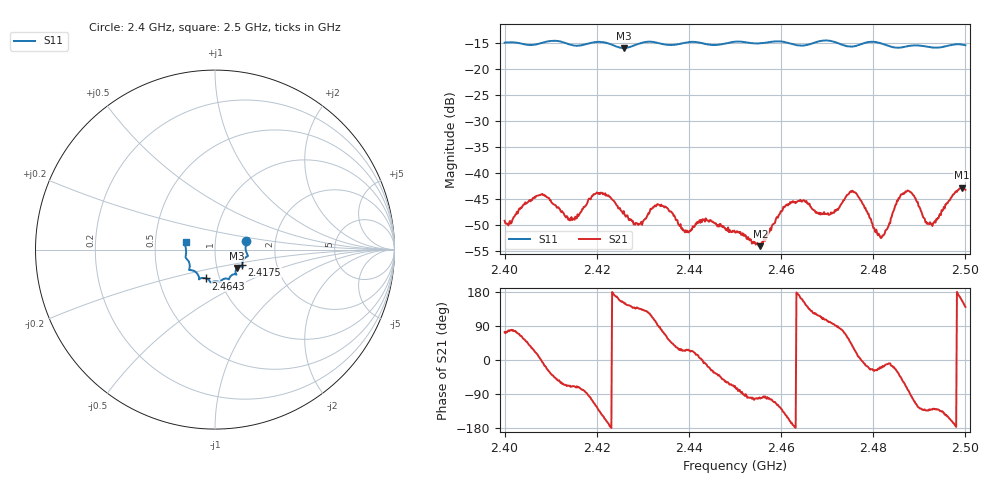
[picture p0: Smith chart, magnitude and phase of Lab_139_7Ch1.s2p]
# Hz S RI R 50
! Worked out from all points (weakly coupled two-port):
!   601 points, 2.4 GHz to 2.5 GHz, reference 50 ohm
!   highest |S21| = -42.78 dB at 2.4992 GHz (marker M1); lowest = -54.1 dB at 2.4555 GHz (marker M2)
!   lowest |S11| = -15.9 dB at 2.4258 GHz (marker M3), VSWR 1.38, Z = 62.3 - j13.2 ohm
!   |S11| at or under -10 dB: start of sweep to end of sweep
!   S12 and S22 are empty: the file has one direction only
!   S11 on the Smith chart (normalised r, x): 2.4 GHz: 1.41, +0.14; 2.4175 GHz: 1.33, -0.23; 2.4643 GHz: 0.86, -0.29; 2.5 GHz: 0.72, +0.06
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2.4e9  0.1729 0.0486  0.000988 0.00334  0 0  0 0
2.407667e9  0.1758 -0.017  0.00611 0.000475  0 0  0 0
2.413833e9  0.1682 -0.0452  0.00136 -0.00328  0 0  0 0
2.416667e9  0.1524 -0.074  0.000956 -0.00417  0 0  0 0
2.4175e9  0.1513 -0.0835  0.000495 -0.00479  0 0  0 0
2.421333e9  0.1541 -0.0968  -0.00529 -0.00334  0 0  0 0
2.425833e9  0.122 -0.1029  -0.00381 0.00202  0 0  0 0
2.429333e9  0.1158 -0.1338  -0.00228 0.0023  0 0  0 0
2.433333e9  0.1137 -0.1373  -2.43e-05 0.00499  0 0  0 0
2.4395e9  0.0792 -0.1622  0.00241 0.00124  0 0  0 0
2.45e9  0.0285 -0.1815  0.000976 -0.00252  0 0  0 0
2.4555e9  -0.00236 -0.1771  -0.000399 -0.00194  0 0  0 0
2.464333e9  -0.0498 -0.1608  -0.00516 0.00165  0 0  0 0
2.466667e9  -0.0762 -0.1587  -0.0029 0.00351  0 0  0 0
2.470833e9  -0.0884 -0.1642  -0.000604 0.00415  0 0  0 0
2.475667e9  -0.1128 -0.1209  0.00554 0.00365  0 0  0 0
2.481333e9  -0.143 -0.1074  0.00233 -0.00102  0 0  0 0
2.483333e9  -0.1405 -0.09  0.00306 -0.000499  0 0  0 0
2.487e9  -0.1552 -0.0547  0.00252 -0.00616  0 0  0 0
2.4925e9  -0.161 -0.0201  -0.00214 -0.00246  0 0  0 0
2.499167e9  -0.1682 0.0388  -0.00678 0.0026  0 0  0 0
2.5e9  -0.1643 0.0431  -0.00529 0.00443  0 0  0 0
